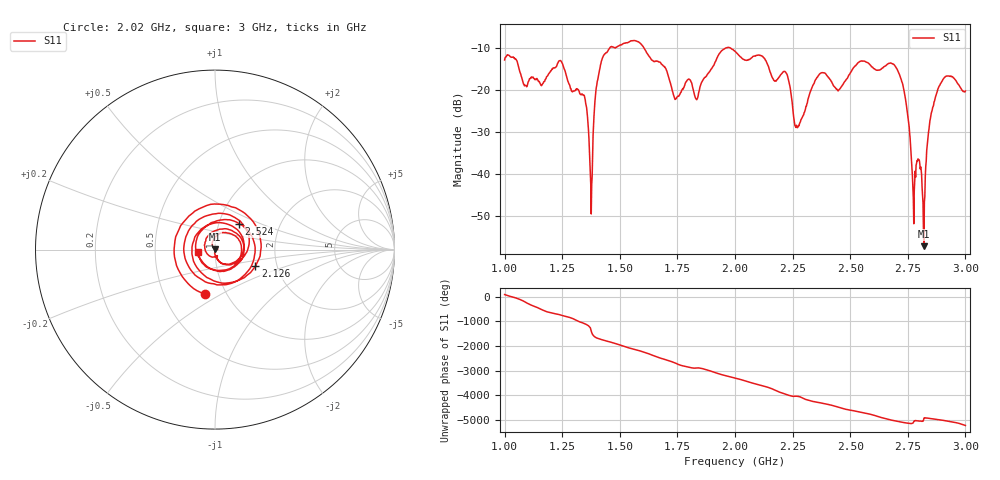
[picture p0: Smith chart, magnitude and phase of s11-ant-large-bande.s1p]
#  HZ  S  MA  R  50.0
! Rohde & Schwarz ZVL
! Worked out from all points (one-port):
!   1001 points, 1 GHz to 3 GHz, reference 50 ohm
!   lowest |S11| = -57.2 dB at 2.82 GHz (marker M1), VSWR 1.00, Z = 49.9 + j0.122 ohm
!   |S11| at or under -10 dB: start of sweep to 1.455 GHz; 1.606 GHz to 1.957 GHz (351.1 MHz wide, 19.7 % of centre); 1.983 GHz to end of sweep
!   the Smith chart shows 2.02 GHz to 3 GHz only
!   S11 on the Smith chart (normalised r, x): 2.02 GHz: 0.79, -0.42; 2.126 GHz: 1.54, -0.30; 2.524 GHz: 1.25, +0.37; 3 GHz: 0.82, -0.02
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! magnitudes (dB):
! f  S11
! 1 GHz  -12.8
! 1.09 GHz  -18.9
! 1.25 GHz  -13.5
! 1.346 GHz  -21.3
! 1.374 GHz  -42.5
! 1.398 GHz  -19.3
! 1.418 GHz  -13.6
! 1.5 GHz  -9.2
! 1.59 GHz  -8.9
! 1.75 GHz  -21.5
! 2 GHz  -10.7
! 2.02 GHz  -11.9
! 2.126 GHz  -12.3
! 2.222 GHz  -15.9
! 2.25 GHz  -23.9
! 2.272 GHz  -28.9
! 2.366 GHz  -16.2
! 2.448 GHz  -20.1
! 2.5 GHz  -15.9
! 2.524 GHz  -14.1
! 2.69 GHz  -13.9
! 2.75 GHz  -26.1
! 2.774 GHz  -45.8
! 2.798 GHz  -36.5
! 2.82 GHz  -57.2
! 2.844 GHz  -28.2
! 2.882 GHz  -19.5
! 3 GHz  -20.2
